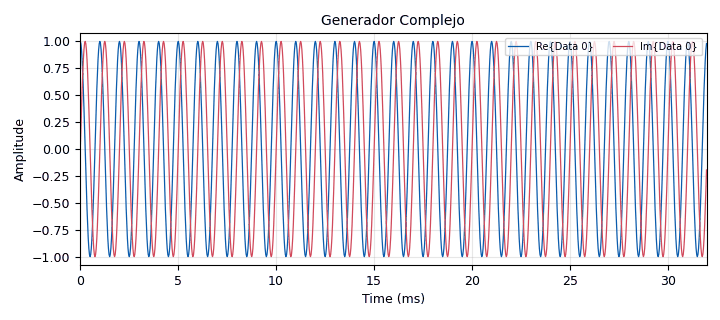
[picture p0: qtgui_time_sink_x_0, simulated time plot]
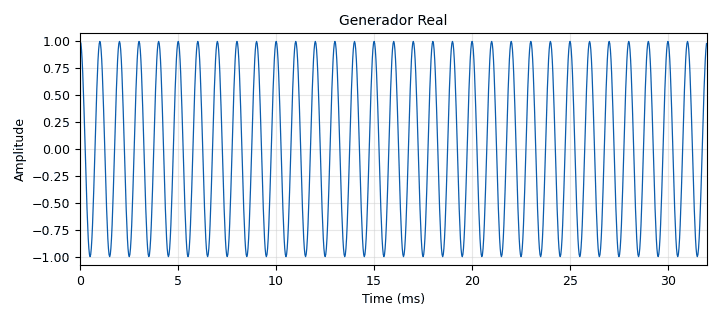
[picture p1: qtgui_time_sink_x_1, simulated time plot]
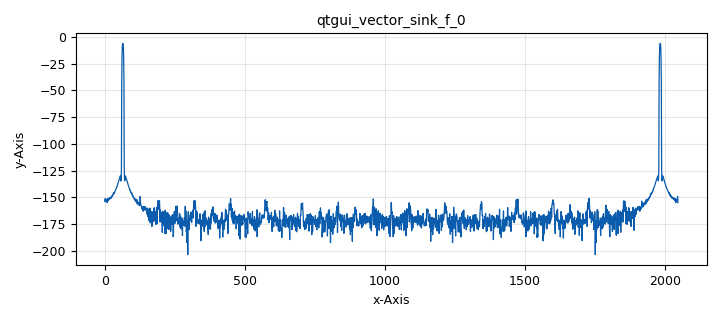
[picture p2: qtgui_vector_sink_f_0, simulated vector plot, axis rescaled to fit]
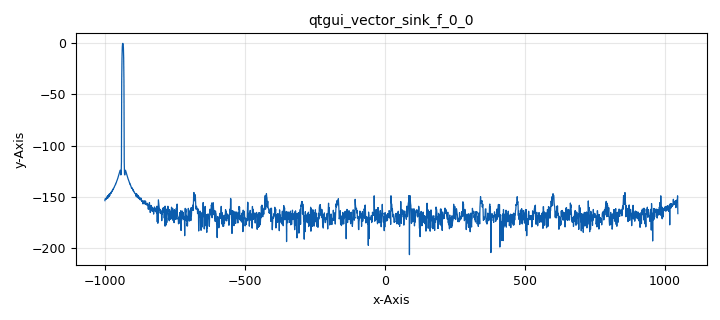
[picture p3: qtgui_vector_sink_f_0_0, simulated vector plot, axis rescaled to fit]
options:
  parameters:
    generate_options: qt_gui
    id: top_block
    output_language: python
  states: {}

blocks:
- name: current_window
  id: variable
  parameters:
    value: window.flattop(vector_len)
  states: {}
- name: samp_rate
  id: variable
  parameters:
    value: '32000'
  states: {}
- name: var_amplitud
  id: variable_qtgui_range
  parameters:
    label: Amplitud
    orient: Qt.Horizontal
    start: '0'
    step: '0.01'
    stop: '5'
    value: '1'
  states: {}
- name: var_frecuencia
  id: variable_qtgui_range
  parameters:
    label: Frecuencia
    orient: Qt.Horizontal
    start: '0'
    step: '1'
    stop: 100e3
    value: 1e3
  states: {}
- name: vector_len
  id: variable
  parameters:
    value: '2048'
  states: {}
- name: window_factor
  id: variable
  parameters:
    value: np.sum(pow(np.asarray(current_window),1))/vector_len
  states: {}
- name: analog_sig_source_x_0
  id: analog_sig_source_x
  parameters:
    amp: var_amplitud
    freq: var_frecuencia
    offset: '0'
    phase: '0'
    samp_rate: samp_rate
    type: float
    waveform: analog.GR_COS_WAVE
  states: {}
- name: analog_sig_source_x_1
  id: analog_sig_source_x
  parameters:
    amp: var_amplitud
    freq: var_frecuencia
    offset: '0'
    phase: '0'
    samp_rate: samp_rate
    type: complex
    waveform: analog.GR_COS_WAVE
  states: {}
- name: blocks_complex_to_mag_0
  id: blocks_complex_to_mag
  parameters:
    vlen: vector_len
  states: {}
- name: blocks_complex_to_mag_0_0
  id: blocks_complex_to_mag
  parameters:
    vlen: vector_len
  states: {}
- name: blocks_float_to_complex_0
  id: blocks_float_to_complex
  parameters: {}
  states: {}
- name: blocks_multiply_const_vxx_0
  id: blocks_multiply_const_vxx
  parameters:
    const: 1/(window_factor*np.ones(vector_len)*vector_len)
    type: float
    vlen: vector_len
  states: {}
- name: blocks_multiply_const_vxx_0_0
  id: blocks_multiply_const_vxx
  parameters:
    const: 1/(window_factor*np.ones(vector_len)*vector_len)
    type: float
    vlen: vector_len
  states: {}
- name: blocks_nlog10_ff_0
  id: blocks_nlog10_ff
  parameters:
    k: '0'
    n: '20'
    vlen: vector_len
  states: {}
- name: blocks_nlog10_ff_0_0
  id: blocks_nlog10_ff
  parameters:
    k: '0'
    n: '20'
    vlen: vector_len
  states: {}
- name: blocks_stream_to_vector_0
  id: blocks_stream_to_vector
  parameters:
    num_items: vector_len
    type: complex
  states: {}
- name: blocks_stream_to_vector_0_0
  id: blocks_stream_to_vector
  parameters:
    num_items: vector_len
    type: complex
  states: {}
- name: blocks_throttle_0
  id: blocks_throttle
  parameters:
    samples_per_second: samp_rate
    type: complex
  states: {}
- name: blocks_throttle_0_0
  id: blocks_throttle
  parameters:
    samples_per_second: samp_rate
    type: float
  states: {}
- name: fft_vxx_0
  id: fft_vxx
  parameters:
    fft_size: vector_len
    forward: 'True'
    shift: 'False'
    type: complex
    window: current_window
  states: {}
- name: fft_vxx_0_0
  id: fft_vxx
  parameters:
    fft_size: vector_len
    forward: 'True'
    shift: 'False'
    type: complex
    window: current_window
  states: {}
- name: import_0
  id: import
  parameters:
    imports: import numpy as np
  states: {}
- name: qtgui_time_sink_x_0
  id: qtgui_time_sink_x
  parameters:
    gui_hint: view_tabs@0
    label1: ''
    label2: ''
    name: '"Generador Complejo"'
    size: '1024'
    srate: samp_rate
    type: complex
  states: {}
- name: qtgui_time_sink_x_1
  id: qtgui_time_sink_x
  parameters:
    gui_hint: view_tabs@0
    label1: ''
    name: '"Generador Real"'
    size: '1024'
    srate: samp_rate
    type: float
  states: {}
- name: qtgui_vector_sink_f_0
  id: qtgui_vector_sink_f
  parameters:
    gui_hint: view_tabs@1
    showports: 'True'
    vlen: vector_len
    x_start: '0'
    x_step: '1.0'
  states: {}
- name: qtgui_vector_sink_f_0_0
  id: qtgui_vector_sink_f
  parameters:
    gui_hint: view_tabs@1
    showports: 'True'
    vlen: vector_len
    x_start: '-1000'
    x_step: '1.0'
  states: {}
- name: view_tabs
  id: qtgui_tab_widget
  parameters:
    label0: Tiempo
    label1: Frecuencia
    num_tabs: '2'
  states: {}

connections:
- [analog_sig_source_x_0, '0', blocks_throttle_0_0, '0']
- [analog_sig_source_x_1, '0', blocks_throttle_0, '0']
- [blocks_complex_to_mag_0, '0', blocks_multiply_const_vxx_0, '0']
- [blocks_complex_to_mag_0_0, '0', blocks_multiply_const_vxx_0_0, '0']
- [blocks_float_to_complex_0, '0', blocks_stream_to_vector_0, '0']
- [blocks_multiply_const_vxx_0, '0', blocks_nlog10_ff_0, '0']
- [blocks_multiply_const_vxx_0_0, '0', blocks_nlog10_ff_0_0, '0']
- [blocks_nlog10_ff_0, '0', qtgui_vector_sink_f_0, '0']
- [blocks_nlog10_ff_0_0, '0', qtgui_vector_sink_f_0_0, '0']
- [blocks_stream_to_vector_0, '0', fft_vxx_0, '0']
- [blocks_stream_to_vector_0_0, '0', fft_vxx_0_0, '0']
- [blocks_throttle_0, '0', blocks_stream_to_vector_0_0, '0']
- [blocks_throttle_0, '0', qtgui_time_sink_x_0, '0']
- [blocks_throttle_0_0, '0', blocks_float_to_complex_0, '0']
- [blocks_throttle_0_0, '0', qtgui_time_sink_x_1, '0']
- [fft_vxx_0, '0', blocks_complex_to_mag_0, '0']
- [fft_vxx_0_0, '0', blocks_complex_to_mag_0_0, '0']

metadata:
  file_format: 1
